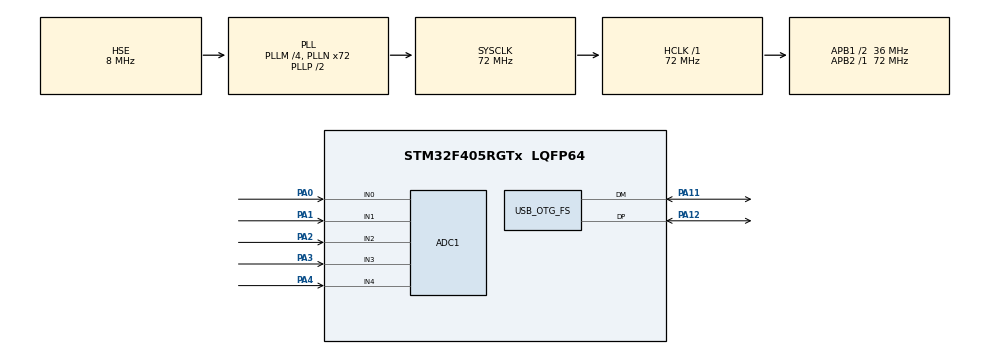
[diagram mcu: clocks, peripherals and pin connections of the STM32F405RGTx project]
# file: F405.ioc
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ADC1.Channel-0\#ChannelRegularConversion=ADC_CHANNEL_0
ADC1.Channel-1\#ChannelRegularConversion=ADC_CHANNEL_1
ADC1.Channel-2\#ChannelRegularConversion=ADC_CHANNEL_2
ADC1.Channel-3\#ChannelRegularConversion=ADC_CHANNEL_3
ADC1.Channel-4\#ChannelRegularConversion=ADC_CHANNEL_4
ADC1.ContinuousConvMode=ENABLE
ADC1.DMAContinuousRequests=ENABLE
ADC1.NbrOfConversion=5
ADC1.NbrOfConversionFlag=1
ADC1.Rank-0\#ChannelRegularConversion=1
ADC1.Rank-1\#ChannelRegularConversion=2
ADC1.Rank-2\#ChannelRegularConversion=3
ADC1.Rank-3\#ChannelRegularConversion=4
ADC1.Rank-4\#ChannelRegularConversion=5
ADC1.SamplingTime-0\#ChannelRegularConversion=ADC_SAMPLETIME_3CYCLES
ADC1.SamplingTime-1\#ChannelRegularConversion=ADC_SAMPLETIME_3CYCLES
ADC1.SamplingTime-2\#ChannelRegularConversion=ADC_SAMPLETIME_3CYCLES
ADC1.SamplingTime-3\#ChannelRegularConversion=ADC_SAMPLETIME_3CYCLES
ADC1.SamplingTime-4\#ChannelRegularConversion=ADC_SAMPLETIME_3CYCLES
ADC1.ScanConvMode=ENABLE
ADC1.master=1
Dma.ADC1.0.Direction=DMA_PERIPH_TO_MEMORY
Dma.ADC1.0.FIFOMode=DMA_FIFOMODE_DISABLE
Dma.ADC1.0.Instance=DMA2_Stream0
Dma.ADC1.0.MemDataAlignment=DMA_MDATAALIGN_HALFWORD
Dma.ADC1.0.MemInc=DMA_MINC_ENABLE
Dma.ADC1.0.Mode=DMA_CIRCULAR
Dma.ADC1.0.PeriphDataAlignment=DMA_PDATAALIGN_HALFWORD
Dma.ADC1.0.PeriphInc=DMA_PINC_DISABLE
Dma.ADC1.0.Priority=DMA_PRIORITY_LOW
Dma.Request0=ADC1
Mcu.Family=STM32F4
Mcu.Name=STM32F405RGTx
Mcu.Package=LQFP64
NVIC.OTG_FS_IRQn=true\:0\:0\:false\:false\:true\:false\:true\:true
NVIC.PriorityGroup=NVIC_PRIORITYGROUP_4
PA0-WKUP.Signal=ADCx_IN0
PA1.Signal=ADCx_IN1
PA11.Mode=Device_Only
PA11.Signal=USB_OTG_FS_DM
PA12.Mode=Device_Only
PA12.Signal=USB_OTG_FS_DP
PA2.Signal=ADCx_IN2
PA3.Signal=ADCx_IN3
PA4.Signal=ADCx_IN4
PH0-OSC_IN.Mode=HSE-External-Oscillator
PH0-OSC_IN.Signal=RCC_OSC_IN
PH1-OSC_OUT.Mode=HSE-External-Oscillator
PH1-OSC_OUT.Signal=RCC_OSC_OUT
ProjectManager.HeapSize=0x1000
ProjectManager.StackSize=0x1000
ProjectManager.TargetToolchain=MDK-ARM V5.32
RCC.48MHZClocksFreq_Value=48000000
RCC.AHBFreq_Value=72000000
RCC.APB1CLKDivider=RCC_HCLK_DIV2
RCC.APB1Freq_Value=36000000
RCC.APB1TimFreq_Value=72000000
RCC.APB2Freq_Value=72000000
RCC.APB2TimFreq_Value=72000000
RCC.CortexFreq_Value=72000000
RCC.HCLKFreq_Value=72000000
RCC.HSE_VALUE=8000000
RCC.HSI_VALUE=16000000
RCC.LSE_VALUE=32768
RCC.PLLM=4
RCC.PLLN=72
RCC.PLLQ=3
RCC.SYSCLKFreq_VALUE=72000000
RCC.SYSCLKSource=RCC_SYSCLKSOURCE_PLLCLK
RCC.VCOOutputFreq_Value=144000000
SH.ADCx_IN0.0=ADC1_IN0,IN0
SH.ADCx_IN1.0=ADC1_IN1,IN1
SH.ADCx_IN2.0=ADC1_IN2,IN2
SH.ADCx_IN3.0=ADC1_IN3,IN3
SH.ADCx_IN4.0=ADC1_IN4,IN4
USB_DEVICE.CLASS_NAME_FS=CDC
USB_DEVICE.VirtualMode-CDC_FS=Cdc
USB_DEVICE.VirtualModeFS=Cdc_FS
USB_OTG_FS.VirtualMode=Device_Only
VP_USB_DEVICE_VS_USB_DEVICE_CDC_FS.Mode=CDC_FS
board=custom

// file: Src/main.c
/* USER CODE BEGIN Header */
/**
  ******************************************************************************
  * @file           : main.c
  * @brief          : Main program body
  ******************************************************************************
  * @attention
  *
  * Copyright (c) 2024 STMicroelectronics.
  * All rights reserved.
  *
  * This software is licensed under terms that can be found in the LICENSE file
  * in the root directory of this software component.
  * If no LICENSE file comes with this software, it is provided AS-IS.
  *
  ******************************************************************************
  */
/* USER CODE END Header */
#include "main.h"
#include "adc.h"
#include "dma.h"
#include "usb_device.h"
#include "gpio.h"

/* USER CODE BEGIN Includes */
// #include "adjuster.h"
#include "usbd_cdc_if.h"
/* USER CODE END Includes */

/* USER CODE BEGIN PM */
// ADC通道�??
#define ADC_CHANNELS 5
// 发�?�消息数据长�??
#define MAX_TX_LEN 128
uint16_t adc_buffer[ADC_CHANNELS] = {0};  // 存储 ADC 数据的数�??
#define ADC_NOISE_THRESHOLD 100  // 添加噪声阈�??
/* USER CODE END PM */

void SystemClock_Config(void);
/* USER CODE BEGIN PFP */
void SendResponse(char* response)
{
  uint8_t buffer[MAX_TX_LEN];
  uint16_t len = snprintf((char*)buffer, sizeof(buffer), "%s", response);
  CDC_Transmit_FS(buffer, len);  // 通过 USB 发�?�消�??
}
void ProcessReceivedData(uint8_t* data, uint32_t len)
{
    if (strstr((char*)data, "FS connect") == (char*)data)
    {
        char msg[MAX_TX_LEN];
        memset(msg, 0, sizeof(msg));  // 清零缓冲�??
        snprintf(msg,sizeof(msg),"connect success2222");
        SendResponse(msg);
    }
    else if (strstr((char*)data, "data request") == (char*)data)
    {
      char usb_tx_buffer[MAX_TX_LEN];
      memset(usb_tx_buffer, 0, sizeof(usb_tx_buffer));  // 清零缓冲�??
      // 添加噪声过滤
      snprintf(usb_tx_buffer, sizeof(usb_tx_buffer),
      "CH0: %d | CH1: %d | CH2: %d | CH3: %d | CH4: %d\r\n",
      (adc_buffer[0] < ADC_NOISE_THRESHOLD) ? 0 : adc_buffer[0],
      (adc_buffer[1] < ADC_NOISE_THRESHOLD) ? 0 : adc_buffer[1],
      (adc_buffer[2] < ADC_NOISE_THRESHOLD) ? 0 : adc_buffer[2],
      (adc_buffer[3] < ADC_NOISE_THRESHOLD) ? 0 : adc_buffer[3],
      (adc_buffer[4] < ADC_NOISE_THRESHOLD) ? 0 : adc_buffer[4]
			);
      SendResponse(usb_tx_buffer);  // 发�?? ADC 数据
    }
    else
    {
        SendResponse("Unknown command");  // 回传未识别的命令
    }
}
void USB_Init(void)
{
  GPIO_InitTypeDef GPIO_InitStruct = {0};

  /* GPIO Ports Clock Enable */
  __HAL_RCC_GPIOA_CLK_ENABLE();

  /*Configure GPIO pin Output Level */
  HAL_GPIO_WritePin(GPIOA, GPIO_PIN_11|GPIO_PIN_12, GPIO_PIN_RESET);

  /*Configure GPIO pin : PA8 */
  GPIO_InitStruct.Pin = GPIO_PIN_11|GPIO_PIN_12;
  GPIO_InitStruct.Mode = GPIO_MODE_OUTPUT_OD;
  GPIO_InitStruct.Pull = GPIO_PULLDOWN;
  GPIO_InitStruct.Speed = GPIO_SPEED_FREQ_LOW;
  HAL_GPIO_Init(GPIOA, &GPIO_InitStruct);

  HAL_Delay(50);
}
//void HAL_ADC_ConvCpltCallback(ADC_HandleTypeDef* hadc)
//{
//  // if (hadc->Instance == ADC1)  // 确保�? ADC1 完成转换
//  // {
//  //   // 处理接收到的数据
//  //   ProcessReceivedData((uint8_t*)adc_buffer, sizeof(adc_buffer));
//  // }
//  if (HAL_ADC_Start_DMA(&hadc1, (uint32_t*)adc_buffer, ADC_CHANNELS ) != HAL_OK)
//  {
//    // Handle error
//    Error_Handler();
//  }
//}
// 启动ADC DMA转换
void ADC_Start_DMA(void) {
  // Ensure ADC is properly configured before starting DMA
  if (HAL_ADC_Start_DMA(&hadc1, (uint32_t*)adc_buffer, ADC_CHANNELS ) != HAL_OK)
  {
    // Handle error
    Error_Handler();
  }
}

/* USER CODE END PFP */

int main(void)
{

  /* MCU Configuration--------------------------------------------------------*/

  /* Reset of all peripherals, Initializes the Flash interface and the Systick. */
  HAL_Init();

  /* USER CODE BEGIN Init */
  USB_Init();
  /* USER CODE END Init */

  /* Configure the system clock */
  SystemClock_Config();

  /* Initialize all configured peripherals */
  MX_GPIO_Init();
  MX_DMA_Init();
  MX_USB_DEVICE_Init();
  MX_ADC1_Init();
  /* USER CODE BEGIN 2 */
	// 	if(HAL_ADCEx_Calibration_Start(&hadc1) != HAL_OK)//����У׼
  // {
  //   Error_Handler();
  // }
  ADC_Start_DMA();
  /* USER CODE END 2 */

  /* Infinite loop */
  while (1)
  {

  }
}

void SystemClock_Config(void)
{
  RCC_OscInitTypeDef RCC_OscInitStruct = {0};
  RCC_ClkInitTypeDef RCC_ClkInitStruct = {0};

  /** Configure the main internal regulator output voltage
  */
  __HAL_RCC_PWR_CLK_ENABLE();
  __HAL_PWR_VOLTAGESCALING_CONFIG(PWR_REGULATOR_VOLTAGE_SCALE1);

  /** Initializes the RCC Oscillators according to the specified parameters
  * in the RCC_OscInitTypeDef structure.
  */
  RCC_OscInitStruct.OscillatorType = RCC_OSCILLATORTYPE_HSE;
  RCC_OscInitStruct.HSEState = RCC_HSE_ON;
  RCC_OscInitStruct.PLL.PLLState = RCC_PLL_ON;
  RCC_OscInitStruct.PLL.PLLSource = RCC_PLLSOURCE_HSE;
  RCC_OscInitStruct.PLL.PLLM = 4;
  RCC_OscInitStruct.PLL.PLLN = 72;
  RCC_OscInitStruct.PLL.PLLP = RCC_PLLP_DIV2;
  RCC_OscInitStruct.PLL.PLLQ = 3;
  if (HAL_RCC_OscConfig(&RCC_OscInitStruct) != HAL_OK)
  {
    Error_Handler();
  }

  /** Initializes the CPU, AHB and APB buses clocks
  */
  RCC_ClkInitStruct.ClockType = RCC_CLOCKTYPE_HCLK|RCC_CLOCKTYPE_SYSCLK
                              |RCC_CLOCKTYPE_PCLK1|RCC_CLOCKTYPE_PCLK2;
  RCC_ClkInitStruct.SYSCLKSource = RCC_SYSCLKSOURCE_PLLCLK;
  RCC_ClkInitStruct.AHBCLKDivider = RCC_SYSCLK_DIV1;
  RCC_ClkInitStruct.APB1CLKDivider = RCC_HCLK_DIV2;
  RCC_ClkInitStruct.APB2CLKDivider = RCC_HCLK_DIV1;

  if (HAL_RCC_ClockConfig(&RCC_ClkInitStruct, FLASH_LATENCY_2) != HAL_OK)
  {
    Error_Handler();
  }
}

void Error_Handler(void)
{
  __disable_irq();
  while (1)
  {
  }
}
